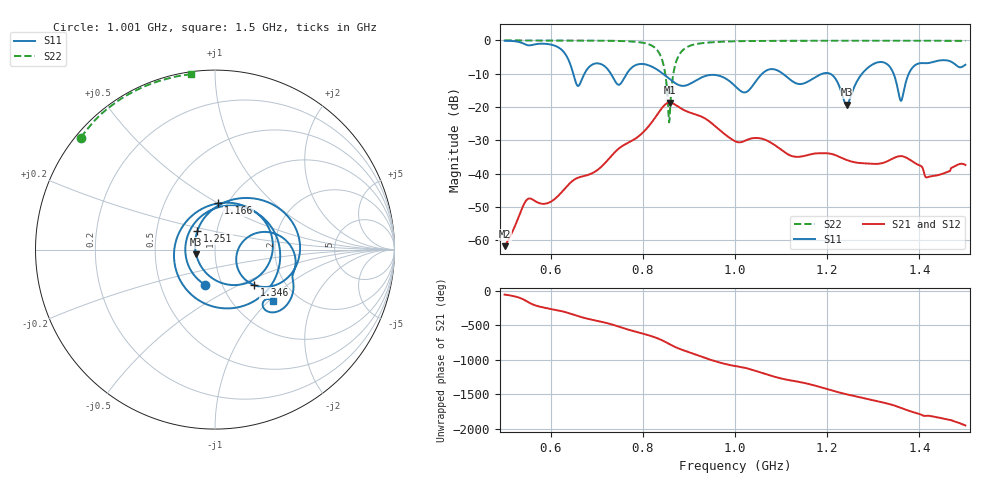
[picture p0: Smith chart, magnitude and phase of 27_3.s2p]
! TOUCHSTONE file generated by CST MICROWAVE STUDIO
! Date and time: Fri Dec 11 14:15:20 2020
! Project name: Scenario_1_Planar_Body_Tissue_Out_of_Line_v2.cst
! Parameters = {dy1=103.8; L_HA=400; Ltissue=700; MT=2.54; Rad_Dielectric=30; Rad_Lower=7.3; Rad_Upper=30; Wtissue=700; a_HA=580; a_WG=246; b_HA=500; b_WG=121; c_HA=0; c_WG=187; d_feed=85; dx1=520; h_feed=15; h_lower=18; h_upper=40; hfat=3; hgap=25; hmuscle=50; hskin=1.5}
! Header version: 2018
! Port assignment regex: !\s*Touchstone port\s*([0-9]+)\s*=\s*(CST MWS port|CST DS port)\s*([0-9]+|Zmin|Zmax)\s*\(\"(.*)\"\)(\s*mode\s*([0-9]+))?.*
! Touchstone port assignment:
! Touchstone port 1 = CST MWS port 1 ("")
! Touchstone port 2 = CST MWS port 2 ("")
# GHz S DB R 50
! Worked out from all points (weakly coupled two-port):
!   1003 points, 500 MHz to 1.5 GHz, reference 50 ohm
!   highest |S21| = -18.67 dB at 858 MHz (marker M1); lowest = -61.8 dB at 500 MHz (marker M2)
!   lowest |S11| = -19.3 dB at 1.242 GHz (marker M3), VSWR 1.24, Z = 40.4 - j2.14 ohm
!   |S11| at or under -10 dB: 843.6 MHz to 1.059 GHz (215.4 MHz wide, 22.6 % of centre); 1.104 GHz to 1.189 GHz (85.66 MHz wide, 7.47 % of centre); 1.206 GHz to 1.276 GHz (69.42 MHz wide, 5.59 % of centre)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
!   |S22| runs from -24.6 to 0.0 dB; largest |S21 - S12| = 2e-05
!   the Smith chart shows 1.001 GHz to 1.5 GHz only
!   S11 on the Smith chart (normalised r, x): 1.001 GHz: 0.83, -0.34; 1.166 GHz: 0.91, +0.50; 1.251 GHz: 0.81, +0.17; 1.346 GHz: 1.40, -0.60; 1.5 GHz: 1.51, -1.06
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0.5  -0.08 -121.9  -61.81 -52.5  -61.81 -52.5  -0.01 151.2
0.549  -1.41 -145.8  -47.77 -154.2  -47.77 -154.2  -0.01 147.9
0.63  -3.76 147.3  -44.63 55.6  -44.63 55.6  -0.03 141.7
0.667  -11.95 175.8  -40.92 -20.9  -40.92 -20.9  -0.04 138.4
0.717  -7.74 105.5  -36.98 -98.5  -36.98 -98.5  -0.09 132.7
0.742  -12.72 8.5  -33.20 -145.4  -33.20 -145.4  -0.14 128.9
0.787  -7.28 165.7  -29.21 123.6  -29.21 123.6  -0.45 117.8
0.834  -9.04 46.7  -21.73 26.6  -21.73 26.6  -3.45 83.0
0.858  -11.59 -21.0  -18.67 -53.7  -18.67 -53.7  -23.68 -75.8
0.887  -13.65 -122.2  -20.76 -139.0  -20.76 -139.0  -2.88 178.5
0.933  -10.80 82.9  -23.29 112.9  -23.29 112.9  -0.75 153.0
1  -13.68 -101.9  -30.27 -10.1  -30.27 -10.1  -0.25 140.2
1.001  -13.81 -105.2  -30.33 -11.3  -30.33 -11.3  -0.24 140.1
1.05  -11.40 65.2  -29.32 -92.2  -29.32 -92.2  -0.17 134.3
1.102  -9.82 -87.8  -33.00 166.1  -33.00 166.1  -0.12 129.5
1.166  -11.74 85.7  -34.16 79.3  -34.16 79.3  -0.10 124.3
1.167  -11.66 83.3  -34.13 77.5  -34.13 77.5  -0.10 124.2
1.242  -19.30 -166.1  -35.90 -60.4  -35.90 -60.4  -0.08 118.4
1.251  -16.86 133.0  -36.32 -74.1  -36.32 -74.1  -0.09 117.7
1.334  -7.60 -25.4  -36.08 159.6  -36.08 159.6  -0.08 111.5
1.346  -10.68 -42.3  -35.25 135.9  -35.25 135.9  -0.09 110.5
1.5  -7.30 -41.5  -37.42 -152.8  -37.42 -152.8  -0.13 97.9
